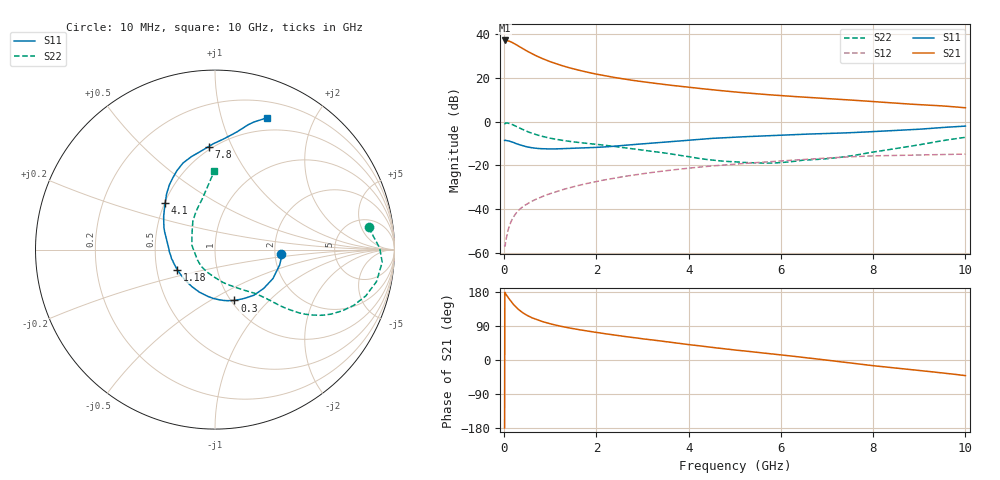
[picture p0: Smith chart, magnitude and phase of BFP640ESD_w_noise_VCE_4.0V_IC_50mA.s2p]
! Infineon Technologies  Discrete & RF Semiconductors
! BFP640ESD
! VCE =  4.0 V,  IC =  50 mA
! Common Emitter S-Parameters:  Jan 2016
# GHz  S  MA  R  50
!  f  S11  S21  S12  S22
! GHz  MAG  ANG  MAG  ANG  MAG  ANG  MAG  ANG
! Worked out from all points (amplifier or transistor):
!   233 points, 10 MHz to 10 GHz, reference 50 ohm
!   highest |S21| = 37.2 dB at 10 MHz (marker M1)
!   |S21| within 3 dB of that: start of sweep to 346.6 MHz
!   unconditionally stable (mu >= 1): start of sweep to 12.36 MHz; 1.963 GHz to 6.766 GHz
!   at 200 MHz: K = 0.45, MSG = 39.9 dB, |S12| = -43.7 dB
!   at 1.74 GHz: K = 0.99, MSG = 25.8 dB, |S12| = -28.6 dB
!   at 10 GHz: K = 0.88, MSG = 10.6 dB, |S12| = -14.9 dB
!   lowest NFmin = 1.46 dB at 450 MHz
!   S11 on the Smith chart (normalised r, x): 10 MHz: 2.17, -0.11; 300 MHz: 1.04, -0.65; 1.18 GHz: 0.64, -0.15; 4.1 GHz: 0.50, +0.31; 7.8 GHz: 0.48, +0.82; 10 GHz: 0.36, +1.40
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0.01  0.3708 -3.4  72.21 -179.3  0.0015 101.7  0.8651 8.2
0.02  0.3736 -5.3  72.03 176.7  0.0014 65.1  0.9176 0.5
0.05  0.3703 -13.4  71.57 171.3  0.0022 71.3  0.9342 -4.3
0.1  0.3609 -26.6  70.19 162.7  0.0037 70.5  0.9173 -11.2
0.15  0.347 -38.6  66.97 154.4  0.0051 71.2  0.8794 -17.0
0.2  0.3341 -49.6  63.12 147.0  0.0065 70.1  0.8343 -21.8
0.3  0.3032 -69.2  54.77 134.5  0.009 68.8  0.7411 -29.0
0.4  0.2806 -85.2  47.24 125.0  0.0111 67.9  0.6593 -33.6
0.45  0.2718 -92.3  43.98 121.2  0.0121 67.7  0.6246 -35.3
0.6  0.2526 -110.1  35.97 111.5  0.0149 67.7  0.5404 -38.6
0.82  0.239 -129.5  28.02 101.7  0.019 68.1  0.4611 -41.3
1  0.2365 -142.0  23.53 95.4  0.0224 68.4  0.4159 -42.8
1.18  0.238 -151.7  20.27 90.3  0.0258 68.3  0.3838 -44.2
1.68  0.248 -171.1  14.51 78.8  0.0358 67.0  0.3262 -48.0
2.4  0.2729 169.4  10.22 65.7  0.0509 62.8  0.269 -55.8
3.4  0.3332 149.1  7.234 50.0  0.0726 54.5  0.1957 -73.5
4.1  0.3812 136.7  5.955 39.3  0.0878 47.8  0.1507 -93.2
5.1  0.4451 124.3  4.674 25.2  0.1079 38.0  0.1178 -134.5
6.8  0.5256 106.6  3.467 2.5  0.1419 21.2  0.1363 161.1
7.8  0.5754 93.5  2.971 -11.9  0.1606 9.4  0.1839 132.8
8.4  0.6166 85.8  2.678 -20.1  0.1674 2.5  0.2329 117.5
10  0.7882 68.6  2.074 -41.2  0.1801 -13.4  0.4365 90.6
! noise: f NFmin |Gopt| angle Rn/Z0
0.45  1.46  0.32  -168  0.11
0.9  1.47  0.35  -163  0.09
1.9  1.52  0.36  -142  0.13
2.4  1.54  0.37  -134  0.14
5.5  1.81  0.52  -97  0.32
10  2.48  0.61  -71  1.22
